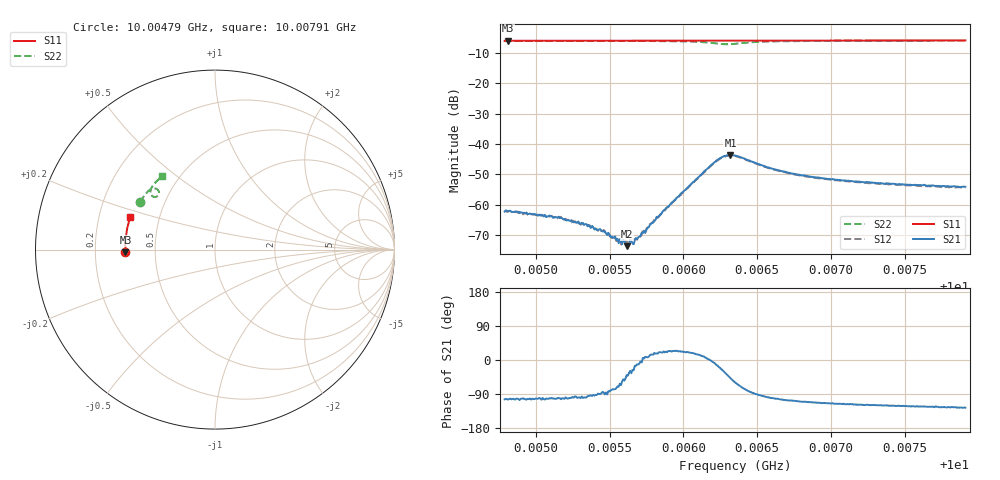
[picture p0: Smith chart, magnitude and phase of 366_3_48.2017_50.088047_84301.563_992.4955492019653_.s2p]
#  HZ  S  RI  R  50.00
! Rohde & Schwarz Vector Network Analyzer
! Rohde-Schwarz,ZNB20-2Port,1311601062101988,3.16
! Created: UTC 3/20/2024, 11:52:31 AM
! freq[Hz]  re:S11  im:S11  re:S21  im:S21  re:S12  im:S12  re:S22  im:S22
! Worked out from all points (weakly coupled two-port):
!   401 points, 10.00479 GHz to 10.00791 GHz, reference 50 ohm
!   highest |S21| = -43.63 dB at 10.00632 GHz (marker M1); lowest = -73.6 dB at 10.00562 GHz (marker M2)
!   lowest |S11| = -6.0 dB at 10.00481 GHz (marker M3), VSWR 2.99, Z = 16.7 - j0.64 ohm
!   |S11| at or under -10 dB: nowhere
!   |S22| runs from -7.2 to -6.0 dB; largest |S21 - S12| = 0.00037
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1.0004789e10  -0.4989 -0.0158  -0.000185 -0.000753  -0.00014 -0.000797  -0.4167 0.2652
1.0004812e10  -0.4989 -0.0144  -0.000192 -0.000757  -0.000139 -0.000763  -0.4158 0.2664
1.0005156e10  -0.4999 0.00797  -0.000117 -0.00062  -0.000108 -0.000629  -0.4033 0.2868
1.0005312e10  -0.5 0.0183  -5.66e-05 -0.000502  -6.48e-05 -0.000472  -0.397 0.2962
1.0005413e10  -0.4998 0.0246  -1.54e-05 -0.000394  -2.04e-05 -0.000383  -0.3925 0.3024
1.0005452e10  -0.4997 0.0273  3.74e-05 -0.000362  3.13e-05 -0.000369  -0.3908 0.3045
1.0005515e10  -0.4996 0.0313  5.83e-05 -0.000296  5.96e-05 -0.000281  -0.3879 0.3085
1.0005554e10  -0.4996 0.0336  9.62e-05 -0.000258  9.64e-05 -0.000242  -0.3861 0.3107
1.0005593e10  -0.4995 0.0363  0.000167 -0.000207  0.000123 -0.000185  -0.3839 0.3132
1.0005616e10  -0.4994 0.0378  0.00016 -0.000133  0.000169 -0.00017  -0.3828 0.3147
1.0005671e10  -0.4991 0.0415  0.000251 -6.91e-05  0.000261 -7.09e-05  -0.3797 0.318
1.0005702e10  -0.4992 0.0435  0.000294 -4.82e-05  0.000292 -1.88e-05  -0.3779 0.32
1.0005796e10  -0.4987 0.0495  0.000494 0.000124  0.000511 0.000119  -0.3719 0.3259
1.0005835e10  -0.4986 0.052  0.000618 0.000231  0.000577 0.000269  -0.3692 0.3285
1.0006209e10  -0.4957 0.0761  0.00494 -0.000658  0.00485 -0.000435  -0.3153 0.3287
1.0006264e10  -0.4951 0.0792  0.00547 -0.00275  0.00549 -0.00239  -0.3125 0.3106
1.0006319e10  -0.4949 0.0826  0.00442 -0.00488  0.00455 -0.00456  -0.3248 0.2953
1.000635e10  -0.4946 0.0844  0.00334 -0.00554  0.00356 -0.00526  -0.3353 0.293
1.00066e10  -0.4926 0.1006  -0.000697 -0.00386  -0.000497 -0.00384  -0.3593 0.3296
1.0006873e10  -0.4893 0.1178  -0.00107 -0.00268  -0.000933 -0.00268  -0.3477 0.3543
1.0007396e10  -0.4814 0.1506  -0.00113 -0.00191  -0.00102 -0.00192  -0.3217 0.3845
1.0007911e10  -0.4715 0.1823  -0.00116 -0.00161  -0.00105 -0.0016  -0.2955 0.4078
